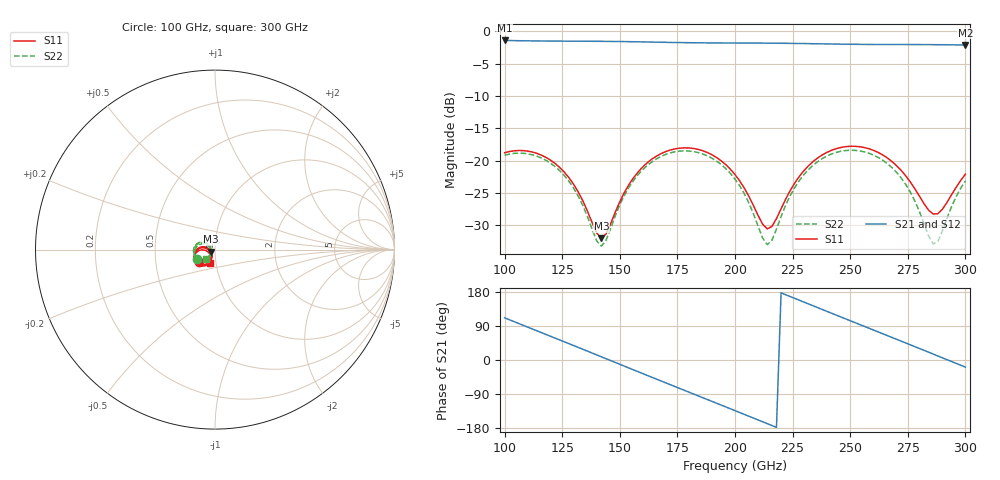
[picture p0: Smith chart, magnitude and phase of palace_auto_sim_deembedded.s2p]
! Created with skrf 1.11.0 (http://scikit-rf.org).
# GHz S DB R 50.0
!freq dBS11 angS11 dBS21 angS21 dBS12 angS12 dBS22 angS22
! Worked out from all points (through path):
!   101 points, 100 GHz to 300 GHz, reference 50 ohm
!   highest |S21| = -1.41 dB at 100 GHz (marker M1); lowest = -2.1 dB at 300 GHz (marker M2)
!   group delay of S21, straight-line fit = 6.81 ps
!   lowest |S11| = -32.0 dB at 142 GHz (marker M3), VSWR 1.05, Z = 47.8 - j1.02 ohm
!   |S11| at or under -10 dB: start of sweep to end of sweep
!   |S22| runs from -33.3 to -18.4 dB; largest |S21 - S12| = 9.6e-14
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100  -18.80 -141.4  -1.41 111.3  -1.41 111.3  -19.19 -152.8
108  -18.47 -157.6  -1.46 91.7  -1.46 91.7  -18.88 -170.1
116  -19.17 -173.3  -1.50 72.3  -1.50 72.3  -19.62 173.1
126  -21.84 170.0  -1.52 47.8  -1.52 47.8  -22.36 154.7
134  -26.27 165.4  -1.53 28.2  -1.53 28.2  -27.00 148.6
142  -32.02 -154.8  -1.55 8.5  -1.55 8.5  -33.26 -168.7
154  -23.71 -112.4  -1.60 -21.2  -1.60 -21.2  -24.14 -127.8
168  -18.92 -132.5  -1.69 -55.6  -1.69 -55.6  -19.35 -150.9
176  -18.09 -147.3  -1.74 -75.1  -1.74 -75.1  -18.55 -167.2
184  -18.28 -162.3  -1.78 -94.6  -1.78 -94.6  -18.77 176.3
200  -22.17 173.0  -1.81 -133.6  -1.81 -133.6  -22.87 147.6
214  -30.58 -152.8  -1.83 -168.0  -1.83 -168.0  -33.02 -175.9
226  -23.45 -110.7  -1.87 162.4  -1.87 162.4  -24.14 -131.5
234  -20.13 -118.6  -1.92 142.8  -1.92 142.8  -20.70 -142.5
244  -18.16 -134.7  -1.97 118.3  -1.97 118.3  -18.74 -161.5
252  -17.80 -148.7  -2.01 98.8  -2.01 98.8  -18.43 -177.7
260  -18.41 -162.2  -2.03 79.4  -2.03 79.4  -19.14 166.3
268  -20.12 -173.6  -2.04 59.9  -2.04 59.9  -21.06 151.7
276  -23.28 -178.7  -2.05 40.3  -2.05 40.3  -24.82 142.0
286  -28.28 -150.3  -2.06 15.7  -2.06 15.7  -32.92 178.3
288  -28.24 -138.1  -2.07 10.8  -2.07 10.8  -32.57 -160.3
300  -22.11 -111.0  -2.12 -18.8  -2.12 -18.8  -23.15 -134.3
